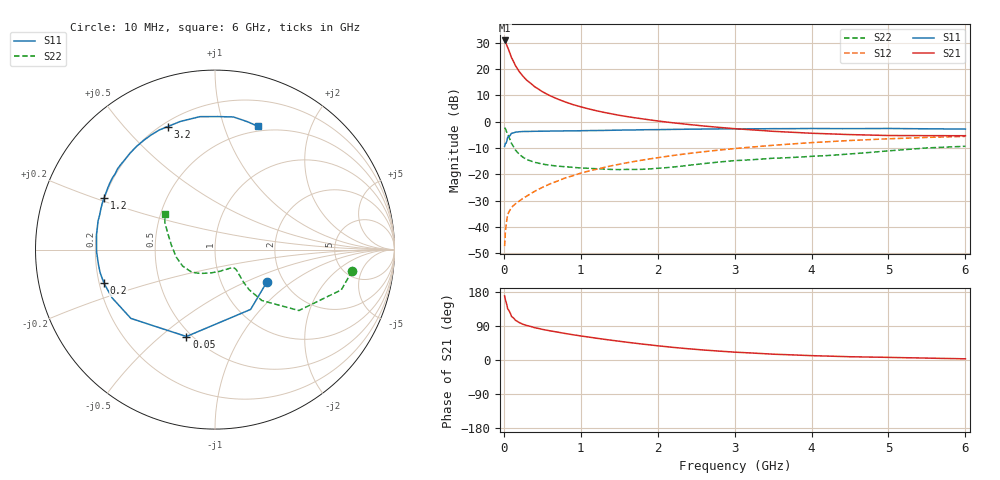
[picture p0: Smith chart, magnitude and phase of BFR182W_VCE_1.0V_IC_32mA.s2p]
! Infineon Technologies  Discrete & RF Semiconductors
! BFR182W
! VCE =  1.0 V,  IC =  32 mA
! Common Emitter S-Parameters:  Jan 2017
# GHz  S  MA  R  50
!  f  S11  S21  S12  S22
! GHz  MAG  ANG  MAG  ANG  MAG  ANG  MAG  ANG
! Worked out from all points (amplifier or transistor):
!   77 points, 10 MHz to 6 GHz, reference 50 ohm
!   highest |S21| = 30.9 dB at 10 MHz (marker M1)
!   |S21| within 3 dB of that: start of sweep to 54.64 MHz
!   unconditionally stable (mu >= 1): start of sweep to 12.71 MHz; 218.1 MHz to end of sweep
!   at 130 MHz: K = 0.76, MSG = 27.2 dB, |S12| = -31.8 dB
!   at 2.2 GHz: K = 1.17, MAG = 3.7 dB, |S12| = -12.8 dB
!   at 6 GHz: K = 1.11, MAG = -1.9 dB, |S12| = -5.6 dB
!   S11 on the Smith chart (normalised r, x): 10 MHz: 1.63, -0.68; 50 MHz: 0.47, -0.61; 200 MHz: 0.22, -0.14; 1.2 GHz: 0.20, +0.21; 3.2 GHz: 0.22, +0.66; 6 GHz: 0.45, +1.31
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0.01  0.3408 -32.4  35.22 169.0  0.0043 68.9  0.7739 -8.8
0.02  0.3879 -59.2  33.81 158.9  0.008 72.2  0.7384 -17.7
0.05  0.5098 -108.2  25.91 135.1  0.0172 56.6  0.5777 -36.0
0.1  0.6054 -140.7  16.54 115.0  0.0235 49.0  0.3856 -47.4
0.15  0.6333 -154.9  11.76 105.1  0.0274 48.9  0.2906 -49.6
0.2  0.6462 -163.1  9.022 98.8  0.031 52.1  0.2405 -48.8
0.25  0.6527 -168.6  7.313 94.2  0.0351 54.9  0.2111 -47.2
0.3  0.6546 -172.6  6.125 90.9  0.0387 57.7  0.1903 -45.8
0.4  0.6597 -178.7  4.649 85.3  0.0474 61.9  0.1694 -43.8
0.5  0.661 176.7  3.738 80.9  0.0565 64.5  0.1568 -43.3
0.6  0.6652 172.9  3.136 77.0  0.0658 65.9  0.1489 -43.7
0.7  0.6664 169.6  2.702 73.5  0.0748 67.7  0.1433 -44.6
0.9  0.6708 163.3  2.119 66.6  0.0944 68.4  0.1357 -49.2
1.1  0.6791 157.7  1.761 60.6  0.1151 68.5  0.1303 -55.3
1.2  0.6816 155.1  1.626 57.6  0.1246 68.2  0.1279 -58.3
1.6  0.6974 145.2  1.256 46.9  0.1662 66.2  0.124 -76.4
2.1  0.7119 133.6  0.995 35.5  0.2177 62.0  0.1335 -102.9
3.1  0.7343 113.0  0.722 19.7  0.3185 51.2  0.1853 -141.3
3.2  0.7343 111.1  0.706 18.7  0.3279 50.0  0.1888 -144.4
4.1  0.7436 94.9  0.598 10.9  0.4089 39.2  0.2235 -172.9
5.1  0.7432 80.9  0.547 6.5  0.4801 27.3  0.2869 158.5
6  0.7272 70.6  0.543 3.1  0.5275 17.2  0.342 144.5
